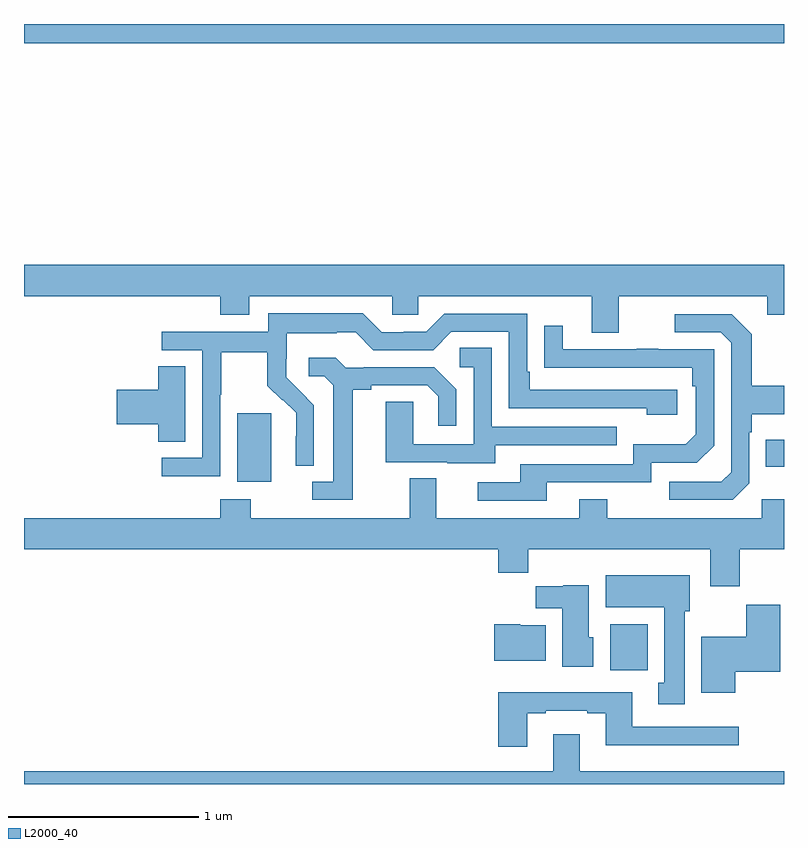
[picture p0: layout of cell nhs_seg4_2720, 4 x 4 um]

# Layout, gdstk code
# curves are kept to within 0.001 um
import gdstk
lib = gdstk.Library(unit=1e-6, precision=1e-09)
def R(c, l, rs):  # rectangles x0, y0, x1, y1
    for r in rs: c.add(gdstk.rectangle(r[:2], r[2:], *l))
def P(c, l, *ps):  # polygons
    for p in ps: c.add(gdstk.Polygon(p, *l))
L2000_40 = (2000, 40)

nhs_seg4_2720 = lib.new_cell('nhs_seg4_2720')
R(nhs_seg4_2720, L2000_40, [(256.085,813.5,256.282,813.742), (254.123,814.49,254.302,814.851), (256.903,814.571,257,814.711), (253,816.8,257,816.9)])
P(nhs_seg4_2720, L2000_40, [(256.129,815.468),(256.913,815.468),(256.913,815.369),(257,815.369),(257,815.632),(253,815.632),(253,815.468),(254.033,815.468),(254.033,815.369),(254.185,815.369),(254.185,815.468),(254.937,815.468),(254.937,815.37),(255.075,815.37),(255.075,815.468),(255.989,815.468),(255.989,815.274),(256.129,815.274)],
  [(254.034,814.948),(254.037,814.948),(254.037,815.172),(254.281,815.172),(254.281,814.997),(254.358,814.92),(254.361,814.923),(254.432,814.853),(254.432,814.73),(254.43,814.73),(254.43,814.576),(254.526,814.576),(254.526,814.894),(254.38,815.042),(254.38,815.139),(254.382,815.139),(254.382,815.273),(254.645,815.273),(254.645,815.277),(254.745,815.277),(254.838,815.184),(255.153,815.184),(255.249,815.28),(255.552,815.28),(255.552,814.878),(256.277,814.878),(256.277,814.844),(256.438,814.844),(256.438,814.974),(255.661,814.974),(255.661,815.071),(255.648,815.071),(255.648,815.376),(255.213,815.376),(255.117,815.28),(254.999,815.28),(254.999,815.277),(254.883,815.277),(254.783,815.377),(254.286,815.377),(254.286,815.28),(253.725,815.28),(253.725,815.184),(253.938,815.184),(253.938,814.617),(253.725,814.617),(253.725,814.519),(254.034,814.519)],
  [(256.818,814.482),(256.818,814.751),(256.831,814.751),(256.831,814.847),(257,814.847),(257,814.995),(256.831,814.995),(256.831,815.267),(256.725,815.373),(256.425,815.373),(256.425,815.277),(256.668,815.277),(256.722,815.223),(256.722,814.542),(256.671,814.491),(256.395,814.491),(256.395,814.395),(256.731,814.395)],
  [(255.751,814.488),(256.302,814.488),(256.302,814.59),(256.542,814.59),(256.632,814.68),(256.632,815.187),(256.337,815.187),(256.337,815.192),(256.225,815.192),(256.225,815.187),(255.835,815.187),(255.835,815.311),(255.739,815.311),(255.739,815.092),(256.516,815.091),(256.516,814.994),(256.536,814.994),(256.536,814.74),(256.483,814.687),(256.206,814.687),(256.206,814.584),(255.611,814.584),(255.611,814.488),(255.387,814.488),(255.387,814.392),(255.751,814.392)],
  [(255.481,814.683),(256.121,814.683),(256.121,814.779),(255.462,814.779),(255.462,815.195),(255.294,815.195),(255.294,815.094),(255.366,815.094),(255.366,814.689),(255.048,814.689),(255.048,814.913),(254.903,814.913),(254.903,814.593),(255.227,814.593),(255.227,814.589),(255.481,814.589)],
  [(254.731,814.976),(254.827,814.976),(254.827,814.998),(255.122,814.998),(255.179,814.941),(255.179,814.785),(255.276,814.785),(255.276,814.978),(255.16,815.094),(254.788,815.094),(254.788,815.091),(254.694,815.091),(254.642,815.143),(254.499,815.143),(254.499,815.046),(254.58,815.046),(254.627,814.999),(254.627,814.491),(254.517,814.491),(254.517,814.395),(254.731,814.395)],
  [(253.849,815.099),(253.706,815.099),(253.706,814.976),(253.488,814.976),(253.488,814.793),(253.706,814.793),(253.706,814.702),(253.849,814.702)],
  [(256.766,814.136),(257,814.136),(257,814.399),(256.884,814.399),(256.884,814.3),(256.071,814.3),(256.071,814.399),(255.923,814.399),(255.923,814.3),(255.169,814.3),(255.169,814.508),(255.029,814.508),(255.029,814.3),(254.193,814.3),(254.193,814.399),(254.033,814.399),(254.033,814.3),(253,814.3),(253,814.136),(255.497,814.136),(255.497,814.012),(255.653,814.012),(255.653,814.136),(256.613,814.136),(256.613,813.942),(256.766,813.942)],
  [(256.477,813.81),(256.504,813.81),(256.504,814),(256.061,814),(256.061,813.83),(256.37,813.83),(256.37,813.434),(256.337,813.434),(256.337,813.321),(256.477,813.321)],
  [(255.997,813.672),(255.973,813.672),(255.973,813.946),(255.837,813.946),(255.837,813.942),(255.694,813.942),(255.694,813.824),(255.833,813.824),(255.833,813.518),(255.997,813.518)],
  [(256.744,813.491),(256.979,813.491),(256.979,813.844),(256.801,813.844),(256.801,813.676),(256.565,813.676),(256.565,813.38),(256.744,813.38)],
  [(255.745,813.736),(255.612,813.736),(255.612,813.742),(255.476,813.742),(255.476,813.548),(255.745,813.548)],
  [(255.649,813.273),(255.745,813.273),(255.745,813.285),(255.965,813.285),(255.965,813.273),(256.061,813.273),(256.061,813.104),(256.762,813.104),(256.762,813.201),(256.201,813.201),(256.201,813.382),(255.497,813.382),(255.497,813.096),(255.649,813.096)],
  [(257,812.968),(255.925,812.968),(255.925,813.163),(255.785,813.163),(255.785,812.968),(253,812.968),(253,812.9),(257,812.9)])

lib.write_gds('nhs_seg4_2720.gds')
